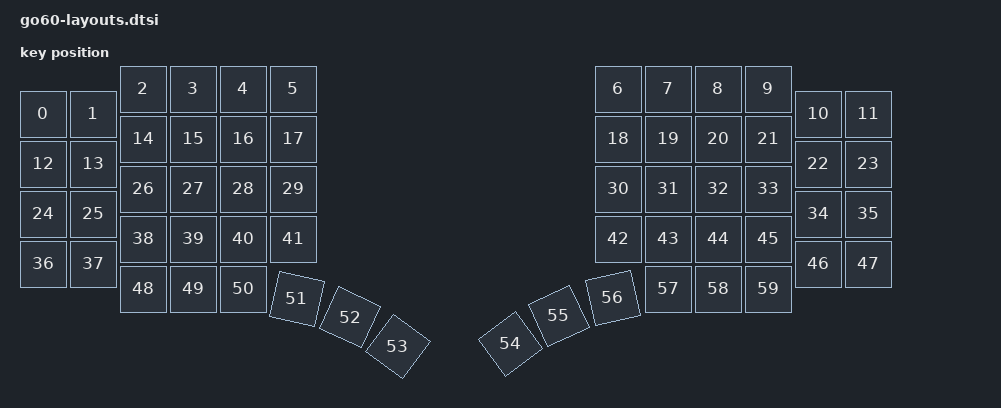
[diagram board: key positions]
#include <physical_layouts.dtsi>

/ {
    physical_layout0: physical_layout_0 {
        compatible = "zmk,physical-layout";
        display-name = "Default";

        kscan = <&kscan0>;
        transform = <&matrix_transform0>;

        keys  //                     w   h    x    y     rot    rx    ry
            = <&key_physical_attrs 100 100    0   50       0     0     0>
            , <&key_physical_attrs 100 100  100   50       0     0     0>
            , <&key_physical_attrs 100 100  200    0       0     0     0>
            , <&key_physical_attrs 100 100  300    0       0     0     0>
            , <&key_physical_attrs 100 100  400    0       0     0     0>
            , <&key_physical_attrs 100 100  500    0       0     0     0>
            , <&key_physical_attrs 100 100 1150    0       0     0     0>
            , <&key_physical_attrs 100 100 1250    0       0     0     0>
            , <&key_physical_attrs 100 100 1350    0       0     0     0>
            , <&key_physical_attrs 100 100 1450    0       0     0     0>
            , <&key_physical_attrs 100 100 1550   50       0     0     0>
            , <&key_physical_attrs 100 100 1650   50       0     0     0>
            , <&key_physical_attrs 100 100    0  150       0     0     0>
            , <&key_physical_attrs 100 100  100  150       0     0     0>
            , <&key_physical_attrs 100 100  200  100       0     0     0>
            , <&key_physical_attrs 100 100  300  100       0     0     0>
            , <&key_physical_attrs 100 100  400  100       0     0     0>
            , <&key_physical_attrs 100 100  500  100       0     0     0>
            , <&key_physical_attrs 100 100 1150  100       0     0     0>
            , <&key_physical_attrs 100 100 1250  100       0     0     0>
            , <&key_physical_attrs 100 100 1350  100       0     0     0>
            , <&key_physical_attrs 100 100 1450  100       0     0     0>
            , <&key_physical_attrs 100 100 1550  150       0     0     0>
            , <&key_physical_attrs 100 100 1650  150       0     0     0>
            , <&key_physical_attrs 100 100    0  250       0     0     0>
            , <&key_physical_attrs 100 100  100  250       0     0     0>
            , <&key_physical_attrs 100 100  200  200       0     0     0>
            , <&key_physical_attrs 100 100  300  200       0     0     0>
            , <&key_physical_attrs 100 100  400  200       0     0     0>
            , <&key_physical_attrs 100 100  500  200       0     0     0>
            , <&key_physical_attrs 100 100 1150  200       0     0     0>
            , <&key_physical_attrs 100 100 1250  200       0     0     0>
            , <&key_physical_attrs 100 100 1350  200       0     0     0>
            , <&key_physical_attrs 100 100 1450  200       0     0     0>
            , <&key_physical_attrs 100 100 1550  250       0     0     0>
            , <&key_physical_attrs 100 100 1650  250       0     0     0>
            , <&key_physical_attrs 100 100    0  350       0     0     0>
            , <&key_physical_attrs 100 100  100  350       0     0     0>
            , <&key_physical_attrs 100 100  200  300       0     0     0>
            , <&key_physical_attrs 100 100  300  300       0     0     0>
            , <&key_physical_attrs 100 100  400  300       0     0     0>
            , <&key_physical_attrs 100 100  500  300       0     0     0>
            , <&key_physical_attrs 100 100 1150  300       0     0     0>
            , <&key_physical_attrs 100 100 1250  300       0     0     0>
            , <&key_physical_attrs 100 100 1350  300       0     0     0>
            , <&key_physical_attrs 100 100 1450  300       0     0     0>
            , <&key_physical_attrs 100 100 1550  350       0     0     0>
            , <&key_physical_attrs 100 100 1650  350       0     0     0>
            , <&key_physical_attrs 100 100  200  400       0     0     0>
            , <&key_physical_attrs 100 100  300  400       0     0     0>
            , <&key_physical_attrs 100 100  400  400       0     0     0>
            , <&key_physical_attrs 100 100  520  410    1250   520   410>
            , <&key_physical_attrs 100 100  640  440    2500   640   440>
            , <&key_physical_attrs 100 100  750  495    3700   750   495>
            , <&key_physical_attrs 100 100  915  550 (-3700)   915   550>
            , <&key_physical_attrs 100 100 1015  480 (-2500)  1015   480>
            , <&key_physical_attrs 100 100 1130  430 (-1250)  1130   430>
            , <&key_physical_attrs 100 100 1250  400       0     0     0>
            , <&key_physical_attrs 100 100 1350  400       0     0     0>
            , <&key_physical_attrs 100 100 1450  400       0     0     0>
            ;
    };
};
